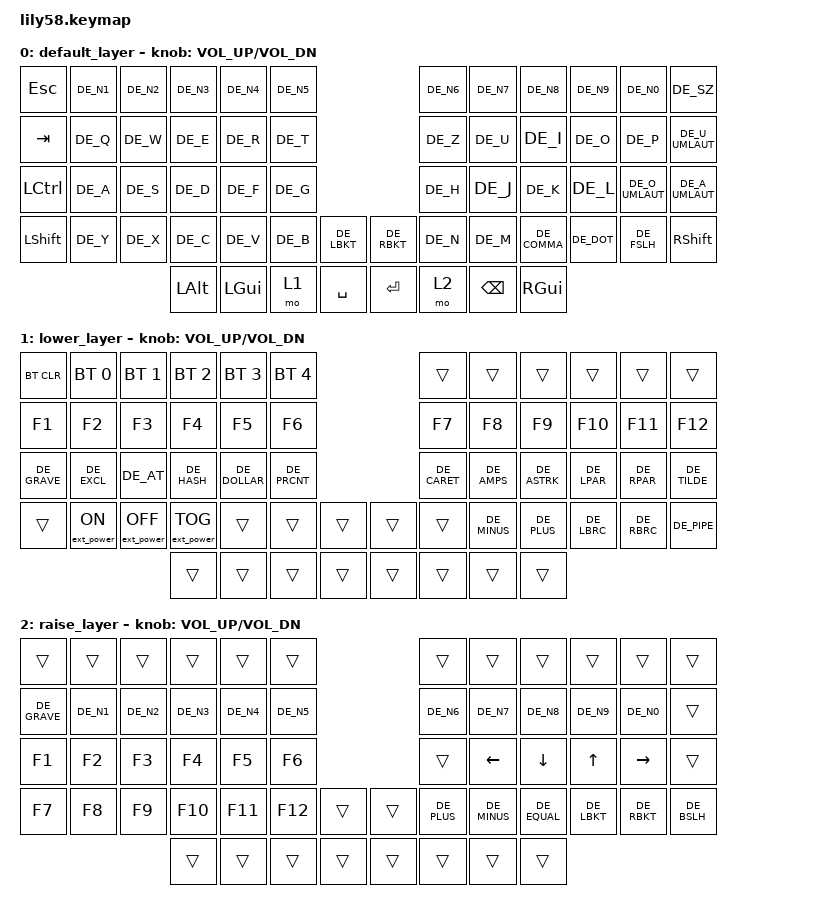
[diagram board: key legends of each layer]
/*
 * Copyright (c) 2020 The ZMK Contributors
 *
 * SPDX-License-Identifier: MIT
 */

#include <behaviors.dtsi>
#include <dt-bindings/zmk/keys.h>
#include <dt-bindings/zmk/bt.h>
#include <dt-bindings/zmk/ext_power.h>
#include "keys_de.h"

/ {
    keymap {
        compatible = "zmk,keymap";

        default_layer {
            // ------------------------------------------------------------------------------------------------------------
            // |  ESC  |  1  |  2  |  3   |  4   |  5   |                   |  6   |  7    |  8    |  9   |   0   |   `   |
            // |  TAB  |  Q  |  W  |  E   |  R   |  T   |                   |  Y   |  U    |  I    |  O   |   P   |   -   |
            // |  CTRL |  A  |  S  |  D   |  F   |  G   |                   |  H   |  J    |  K    |  L   |   ;   |   '   |
            // | SHIFT |  Z  |  X  |  C   |  V   |  B   |   "["  |  |  "]"  |  N   |  M    |  ,    |  .   |   /   | SHIFT |
            //                     | ALT  | GUI  | LOWER|  SPACE |  | ENTER | RAISE| BSPC  | GUI   |

            bindings = <
&kp ESC    &kp DE_N1               &kp DE_N2               &kp DE_N3              &kp DE_N4                  &kp DE_N5                                          &kp DE_N6  &kp DE_N7                   &kp DE_N8            &kp DE_N9            &kp DE_N0        &kp DE_SZ
&kp TAB    &kp DE_Q  &kp DE_W  &kp DE_E  &kp DE_R  &kp DE_T &kp DE_Z  &kp DE_U  &kp DE_I  &kp DE_O  &kp DE_P  &kp DE_U_UMLAUT
&kp LCTRL &kp DE_A &kp DE_S &kp DE_D &kp DE_F &kp DE_G &kp DE_H &kp DE_J &kp DE_K &kp DE_L &kp DE_O_UMLAUT &kp DE_A_UMLAUT
&kp LSHFT &kp DE_Y &kp DE_X &kp DE_C &kp DE_V &kp DE_B               &kp DE_LBKT    &kp DE_RBKT  &kp DE_N   &kp DE_M                    &kp DE_COMMA         &kp DE_DOT           &kp DE_FSLH      &kp RSHFT
                                                           &kp LALT               &kp LGUI                   &mo 1                  &kp SPACE      &kp RET      &mo 2      &kp BSPC                    &kp RGUI
            >;

            sensor-bindings = <&inc_dec_kp C_VOL_UP C_VOL_DN>;
        };

        lower_layer {
            // ------------------------------------------------------------------------------------------------------------
            // | BTCLR | BT1 | BT2 |  BT3 |  BT4 |  BT5 |                   |      |       |       |      |       |       |
            // |  F1   |  F2 |  F3 |  F4  |  F5  |  F6  |                   |  F7  |  F8   |  F9   |  F10 |  F11  |  F12  |
            // |   `   |  !  |  @  |  #   |  $   |  %   |                   |  ^   |  &    |  *    |  (   |   )   |   ~   |
            // |       |     |     |      |      |      |        |  |       |      |  _    |  +    |  {   |   }   |  "|"  |
            //                     |      |      |      |        |  |       |      |       |       |

            bindings = <
&bt BT_CLR    &bt BT_SEL 0      &bt BT_SEL 1       &bt BT_SEL 2       &bt BT_SEL 3   &bt BT_SEL 4                    &trans        &trans        &trans        &trans       &trans       &trans
&kp F1        &kp F2            &kp F3             &kp F4             &kp F5         &kp F6                          &kp F7        &kp F8        &kp F9        &kp F10      &kp F11      &kp F12
&kp DE_GRAVE  &kp DE_EXCL       &kp DE_AT          &kp DE_HASH        &kp DE_DOLLAR  &kp DE_PRCNT                    &kp DE_CARET  &kp DE_AMPS   &kp DE_ASTRK  &kp DE_LPAR  &kp DE_RPAR  &kp DE_TILDE
&trans        &ext_power EP_ON  &ext_power EP_OFF  &ext_power EP_TOG  &trans         &trans        &trans    &trans  &trans        &kp DE_MINUS  &kp DE_PLUS   &kp DE_LBRC  &kp DE_RBRC  &kp DE_PIPE
                                                   &trans             &trans         &trans        &trans    &trans  &trans        &trans        &trans
            >;

            sensor-bindings = <&inc_dec_kp C_VOL_UP C_VOL_DN>;
        };

        raise_layer {
            // ------------------------------------------------------------------------------------------------------------
            // |       |     |     |      |      |      |                   |      |       |       |      |       |       |
            // |   `   |  1  |  2  |  3   |  4   |  5   |                   |  6   |   7   |   8   |  9   |   0   |       |
            // |   F1  |  F2 |  F3 |  F4  |  F5  |  F6  |                   |      |   <-  |   v   |  ^   |  ->   |       |
            // |   F7  |  F8 |  F9 |  F10 |  F11 |  F12 |        |  |       |  +   |   -   |   =   |  [   |   ]   |   \   |
            //                     |      |      |      |        |  |       |      |       |       |

            bindings = <
&trans        &trans     &trans     &trans     &trans     &trans                       &trans       &trans        &trans        &trans       &trans       &trans
&kp DE_GRAVE  &kp DE_N1  &kp DE_N2  &kp DE_N3  &kp DE_N4  &kp DE_N5                    &kp DE_N6    &kp DE_N7     &kp DE_N8     &kp DE_N9    &kp DE_N0    &trans
&kp F1        &kp F2     &kp F3     &kp F4     &kp F5     &kp F6                       &trans       &kp LEFT      &kp DOWN      &kp UP       &kp RIGHT    &trans
&kp F7        &kp F8     &kp F9     &kp F10    &kp F11    &kp F12    &trans    &trans  &kp DE_PLUS  &kp DE_MINUS  &kp DE_EQUAL  &kp DE_LBKT  &kp DE_RBKT  &kp DE_BSLH
                                    &trans     &trans     &trans     &trans    &trans  &trans       &trans        &trans
            >;

            sensor-bindings = <&inc_dec_kp C_VOL_UP C_VOL_DN>;
        };
    };
};
